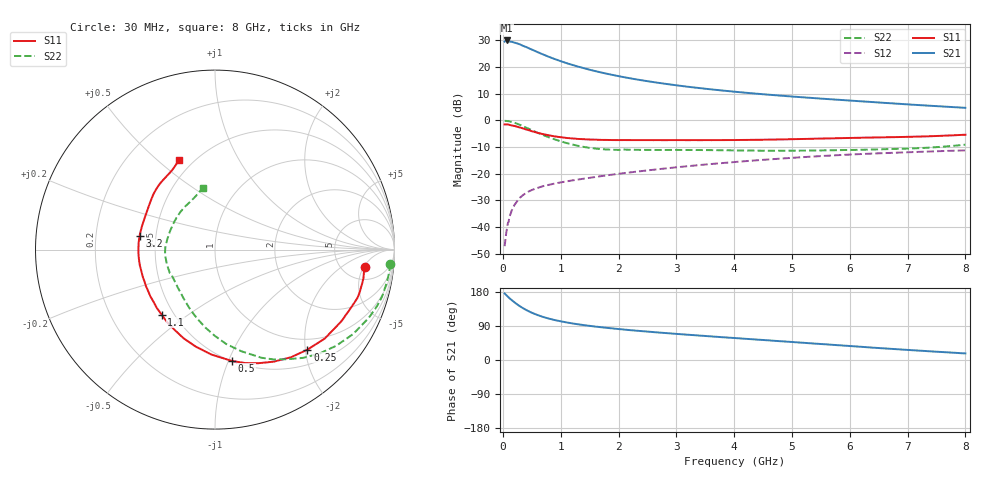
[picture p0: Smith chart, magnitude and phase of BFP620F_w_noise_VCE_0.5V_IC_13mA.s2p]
! Infineon Technologies  Discrete & RF Semiconductors
! BFP620F
! VCE =  0.5 V,  IC =  13 mA
! Common Emitter S-Parameters:  Dec 2014
# GHz  S  MA  R  50
!  f  S11  S21  S12  S22
! GHz  MAG  ANG  MAG  ANG  MAG  ANG  MAG  ANG
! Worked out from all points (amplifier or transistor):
!   95 points, 30 MHz to 8 GHz, reference 50 ohm
!   highest |S21| = 29.9 dB at 70 MHz (marker M1)
!   |S21| within 3 dB of that: start of sweep to 457.8 MHz
!   unconditionally stable (mu >= 1): 3.461 GHz to end of sweep
!   at 300 MHz: K = 0.20, MSG = 28.7 dB, |S12| = -28.9 dB
!   at 3.3 GHz: K = 0.99, MSG = 14.7 dB, |S12| = -17.0 dB
!   at 8 GHz: K = 1.08, MAG = 6.2 dB, |S12| = -11.2 dB
!   lowest NFmin = 0.66 dB at 450 MHz
!   S11 on the Smith chart (normalised r, x): 30 MHz: 7.87, -5.32; 250 MHz: 0.78, -2.04; 500 MHz: 0.50, -1.03; 1.1 GHz: 0.43, -0.40; 3.2 GHz: 0.40, +0.07; 8 GHz: 0.42, +0.59
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0.03  0.84 -6.8  29.87 175.7  0.0044 85.5  0.9801 -4.6
0.05  0.8421 -10.8  31.06 172.6  0.0067 83.5  0.9778 -8.0
0.07  0.8403 -14.5  31.43 169.6  0.0093 83.5  0.9745 -11.1
0.12  0.8195 -24.8  29.94 162.3  0.0164 77.5  0.9556 -19.3
0.15  0.8071 -30.3  29.73 158.5  0.0202 76.1  0.937 -24.0
0.25  0.7587 -47.3  27.61 146.5  0.0309 68.9  0.8623 -38.4
0.3  0.7341 -54.8  26.4 141.4  0.036 65.0  0.8204 -45.0
0.4  0.6769 -69.3  23.74 132.3  0.0436 59.3  0.7325 -56.5
0.5  0.6279 -81.3  21.22 124.8  0.0496 55.8  0.6562 -66.7
0.6  0.5849 -92.0  19.02 118.6  0.0543 52.9  0.5856 -75.4
0.7  0.5508 -101.3  17.09 113.4  0.0588 50.9  0.5292 -83.3
0.8  0.524 -109.6  15.45 109.1  0.0622 49.5  0.48 -90.2
0.9  0.5003 -116.8  14.06 105.3  0.0657 48.8  0.4389 -96.8
1.1  0.4686 -129.4  11.83 99.2  0.0719 47.8  0.3764 -108.8
1.4  0.4442 -144.3  9.504 92.1  0.0809 47.4  0.3181 -124.5
2  0.4272 -165.2  6.747 81.7  0.0998 47.4  0.28 -150.1
2.7  0.427 178.9  5.032 72.5  0.1221 45.9  0.2789 -167.3
3.2  0.4263 169.9  4.268 66.7  0.1387 44.5  0.2787 -175.9
4.1  0.4294 156.3  3.371 57.0  0.1688 40.4  0.2727 170.7
5.4  0.4538 141.1  2.606 43.2  0.2111 32.5  0.273 149.0
6.7  0.484 126.5  2.095 29.6  0.2459 23.2  0.2903 126.4
8  0.5393 112.0  1.718 17.3  0.2741 14.0  0.3509 101.1
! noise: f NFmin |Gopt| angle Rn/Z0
0.45  0.66  0.19  8  0.2
0.9  0.73  0.17  18  0.18
1.5  0.78  0.17  20  0.13
1.8  0.81  0.15  23  0.11
1.9  0.82  0.11  37  0.13
2.4  0.86  0.1  53  0.12
3.5  0.95  0.09  78  0.12
5.5  1.11  0.11  197  0.09
6  1.15  0.1  226  0.13
